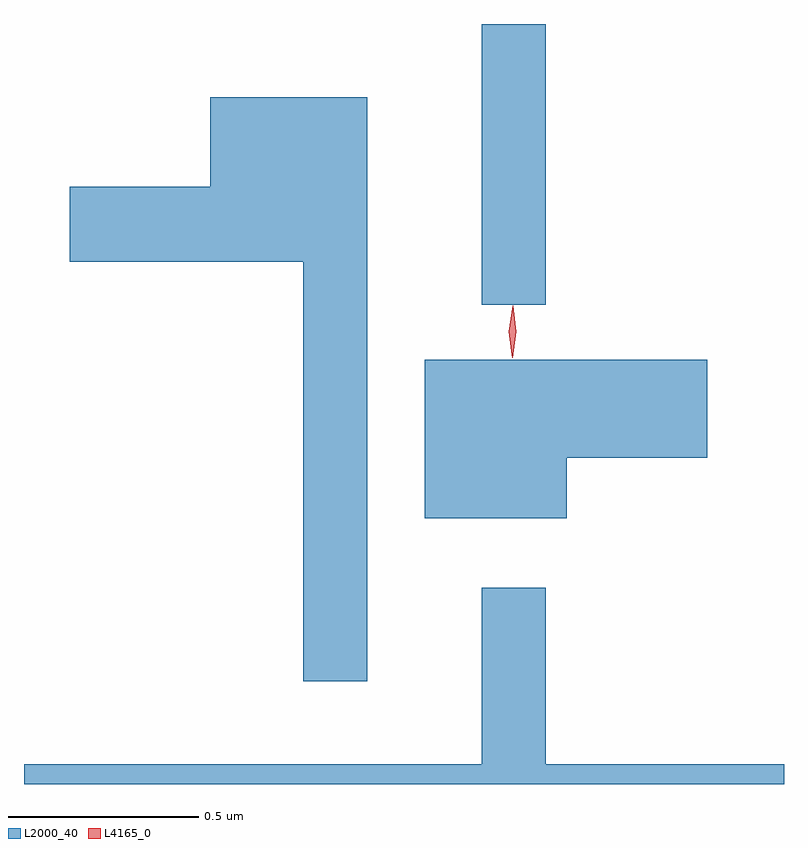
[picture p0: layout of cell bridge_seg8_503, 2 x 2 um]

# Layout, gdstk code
import gdstk
lib = gdstk.Library(unit=1e-6, precision=1e-09)
def R(c, l, rs):  # rectangles x0, y0, x1, y1
    for r in rs: c.add(gdstk.rectangle(r[:2], r[2:], *l))
def P(c, l, *ps):  # polygons
    for p in ps: c.add(gdstk.Polygon(p, *l))
L2000_40 = (2000, 40)
L4165_0 = (4165, 0)

bridge_seg8_503 = lib.new_cell('bridge_seg8_503')
R(bridge_seg8_503, L2000_40, [(313.691,1895.613,313.859,1896.352)])
P(bridge_seg8_503, L2000_40, [(313.389,1896.159),(312.976,1896.159),(312.976,1895.924),(312.606,1895.924),(312.606,1895.726),(313.221,1895.726),(313.221,1894.623),(313.389,1894.623)],
  [(313.914,1895.211),(314.284,1895.211),(314.284,1895.469),(313.541,1895.469),(313.541,1895.051),(313.914,1895.051)],
  [(314.486,1894.404),(313.859,1894.404),(313.859,1894.868),(313.691,1894.868),(313.691,1894.404),(312.486,1894.404),(312.486,1894.352),(314.486,1894.352)])
P(bridge_seg8_503, L4165_0, [(313.771,1895.474),(313.771,1895.474),(313.762,1895.542),(313.772,1895.61),(313.773,1895.61),(313.773,1895.61),(313.782,1895.542),(313.772,1895.474)],
  [(313.771,1895.48),(313.77,1895.481),(313.762,1895.544),(313.772,1895.606),(313.773,1895.607),(313.773,1895.606),(313.782,1895.543),(313.771,1895.481)])

lib.write_gds('bridge_seg8_503.gds')
